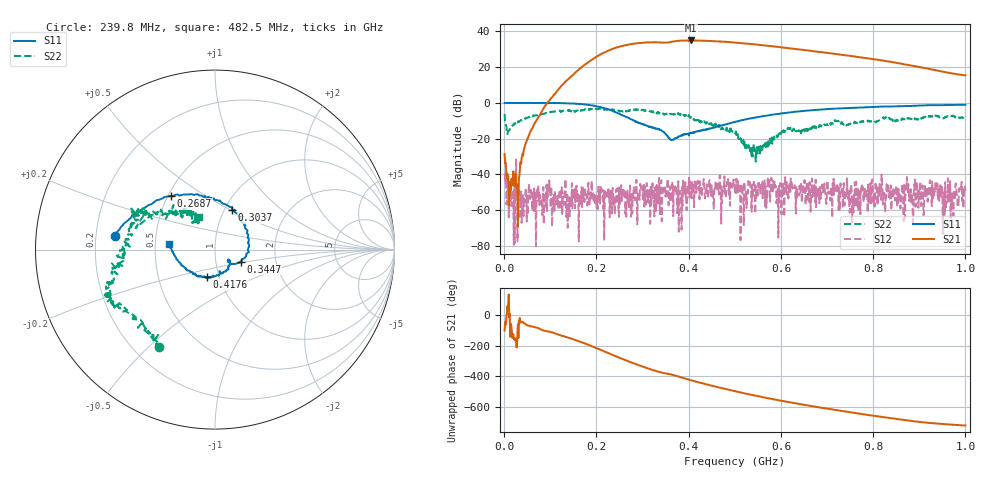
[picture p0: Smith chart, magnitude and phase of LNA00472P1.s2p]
! Created with skrf 1.9.0 (http://scikit-rf.org).
# Hz S RI R 50.0
!freq ReS11 ImS11 ReS21 ImS21 ReS12 ImS12 ReS22 ImS22
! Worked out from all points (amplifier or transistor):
!   1001 points, 1 MHz to 1 GHz, reference 50 ohm
!   highest |S21| = 34.9 dB at 404.6 MHz (marker M1)
!   |S21| within 3 dB of that: 257.2 MHz to 573.5 MHz (316.3 MHz wide, 76.2 % of centre)
!   unconditionally stable (mu >= 1): start of sweep to 72.5 MHz; 212.9 MHz to 286.5 MHz; 286.9 MHz to end of sweep (the widest 3 of 30)
!   at 166.8 MHz: K = 3.44, MAG = 29.9 dB, |S12| = -56.6 dB
!   at 500.5 MHz: K = 3.20, MAG = 34.3 dB, |S12| = -50.6 dB
!   at 1 GHz: K = 4.21, MAG = 23.2 dB, |S12| = -49.3 dB
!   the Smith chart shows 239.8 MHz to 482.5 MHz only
!   S11 on the Smith chart (normalised r, x): 239.8 MHz: 0.28, +0.06; 268.7 MHz: 0.52, +0.37; 303.7 MHz: 1.09, +0.51; 344.7 MHz: 1.32, -0.18; 417.6 MHz: 0.88, -0.27; 482.5 MHz: 0.59, +0.04
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1000000  0.9898 0.0148  -0.00558 -0.0365  -0.00531 0.00921  0.3775 0.306
1.09891e8  0.5177 -0.849  -0.8399 -1.588  0.00335 -0.000565  0.449 -0.369
1.67833e8  -0.2187 -0.8967  -9.983 -0.6681  -0.00192 -0.00398  0.0445 -0.6293
2.08792e8  -0.6457 -0.4124  -15.84 16.3  -0.00112 0.00194  -0.199 -0.6612
2.39761e8  -0.5597 0.0776  -2.394 34.05  -0.000624 0.000541  -0.3136 -0.5446
2.68732e8  -0.2439 0.2993  22.01 36.21  -0.00248 0.000162  -0.4786 -0.3553
3.03697e8  0.0958 0.2201  45.62 16.09  0.00049 -0.00115  -0.5682 -0.187
3.34666e8  0.1824 -0.00104  48.43 -9.403  -0.00275 -0.00128  -0.5475 -0.034
3.44656e8  0.1423 -0.067  45.44 -15.57  -0.000481 0.00332  -0.4997 0.00163
3.72628e8  0.0827 -0.0653  42.68 -32.56  -0.000281 0.00426  -0.4609 0.1685
4.04596e8  0.0214 -0.1434  22.29 -51.04  -0.00142 0.00529  -0.3251 0.1994
4.17583e8  -0.0432 -0.1523  12.24 -53.88  0.00384 0.00394  -0.2541 0.2021
4.46554e8  -0.1599 -0.1105  -9.31 -53.21  0.00274 0.00289  -0.1619 0.2095
4.82518e8  -0.2536 0.03  -30.01 -40.76  0.00325 0.00525  -0.088 0.1839
5.005e8  -0.2656 0.1254  -37.09 -31.97  0.0011 -0.00273  -0.0817 0.1219
5.32468e8  -0.2279 0.2864  -42.03 -15.01  0.00623 0.00039  -0.0433 0.0411
5.63437e8  -0.1347 0.4101  -40.6 -0.2302  0.00379 -0.00201  -0.0622 -0.000751
6.11389e8  0.07 0.5237  -30.54 15.9  0.00318 -0.000941  -0.1624 -0.1012
6.67333e8  0.3309 0.5313  -15.11 23.7  0.00296 -0.00721  -0.1916 -0.0598
7.53247e8  0.6277 0.3686  3.154 20.07  -0.00369 -0.000634  -0.2618 -0.00641
8.34166e8  0.7792 0.1478  10.05 10.2  -0.0017 -0.00155  -0.3674 0.013
1e9  0.8161 -0.3714  5.889 -0.4567  0.0034 -0.000341  -0.2678 0.3137
